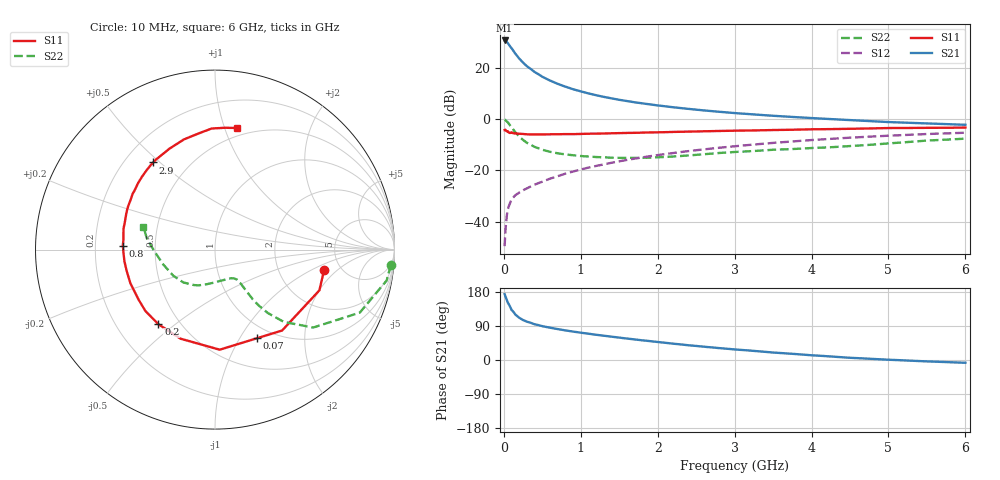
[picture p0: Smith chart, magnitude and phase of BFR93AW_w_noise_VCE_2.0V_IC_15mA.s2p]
! Infineon Technologies  Discrete & RF Semiconductors
! BFR93AW
! VCE =  2.0 V,  IC =  15 mA
! Common Emitter S-Parameters:  Jan 2017
# GHz  S  MA  R  50
!  f  S11  S21  S12  S22
! GHz  MAG  ANG  MAG  ANG  MAG  ANG  MAG  ANG
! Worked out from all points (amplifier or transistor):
!   77 points, 10 MHz to 6 GHz, reference 50 ohm
!   highest |S21| = 30.9 dB at 10 MHz (marker M1)
!   |S21| within 3 dB of that: start of sweep to 99.27 MHz
!   unconditionally stable (mu >= 1): 678 MHz to 2.244 GHz
!   at 130 MHz: K = 0.40, MSG = 28.4 dB, |S12| = -30.3 dB
!   at 2.2 GHz: K = 1.00, MAG = 8.6 dB, |S12| = -13.2 dB
!   at 6 GHz: K = 0.91, MSG = 1.5 dB, |S12| = -5.2 dB
!   lowest NFmin = 1.37 dB at 450 MHz
!   S11 on the Smith chart (normalised r, x): 10 MHz: 3.69, -1.38; 70 MHz: 0.85, -1.19; 200 MHz: 0.38, -0.44; 800 MHz: 0.32, +0.02; 2.9 GHz: 0.32, +0.48; 6 GHz: 0.43, +1.11
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0.01  0.6183 -10.8  34.89 173.9  0.0033 84.6  0.9832 -5.0
0.02  0.6244 -21.3  34.66 168.2  0.0064 81.6  0.9721 -10.2
0.05  0.5857 -50.3  31.34 151.9  0.0169 69.7  0.8797 -23.5
0.07  0.5466 -64.5  28.27 145.2  0.0209 63.7  0.8008 -28.7
0.1  0.5583 -87.3  24.62 132.2  0.0271 58.0  0.6981 -38.5
0.15  0.5322 -111.2  19.22 119.8  0.0328 54.0  0.5562 -46.4
0.2  0.5217 -127.2  15.45 111.5  0.0369 52.7  0.4603 -50.2
0.25  0.5171 -138.6  12.84 105.4  0.041 53.2  0.395 -52.0
0.3  0.5089 -146.7  10.92 101.1  0.0446 54.2  0.347 -52.8
0.4  0.5074 -158.3  8.425 94.3  0.0527 56.9  0.2888 -52.9
0.5  0.5063 -166.3  6.814 89.3  0.0602 58.8  0.2541 -52.9
0.6  0.5089 -172.7  5.739 85.2  0.0691 61.1  0.2316 -52.9
0.7  0.51 -177.7  4.943 81.6  0.0771 62.6  0.2165 -53.1
0.8  0.514 177.7  4.353 78.1  0.0866 64.0  0.206 -53.9
1.1  0.523 166.9  3.214 69.4  0.1136 65.0  0.1871 -58.8
1.5  0.5372 155.8  2.409 59.1  0.1508 64.5  0.1764 -69.5
2.1  0.5609 141.4  1.795 45.4  0.2092 61.1  0.1836 -91.4
2.9  0.5953 125.3  1.364 29.7  0.2873 54.5  0.2243 -117.8
3.1  0.6018 121.5  1.293 26.4  0.3066 52.5  0.2334 -123.4
4.1  0.6398 104.3  1.039 11.3  0.4015 42.1  0.2778 -151.5
5.1  0.6755 90.3  0.873 -0.1  0.4853 30.7  0.3462 179.2
6  0.6886 79.6  0.781 -7.4  0.5471 20.5  0.4187 162.3
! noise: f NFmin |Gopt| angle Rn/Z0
0.45  1.37  0.12  133  0.13
0.9  1.66  0.23  164  0.14
1.9  2.67  0.47  -144  0.2
2.4  3.3  0.54  -129  0.4
